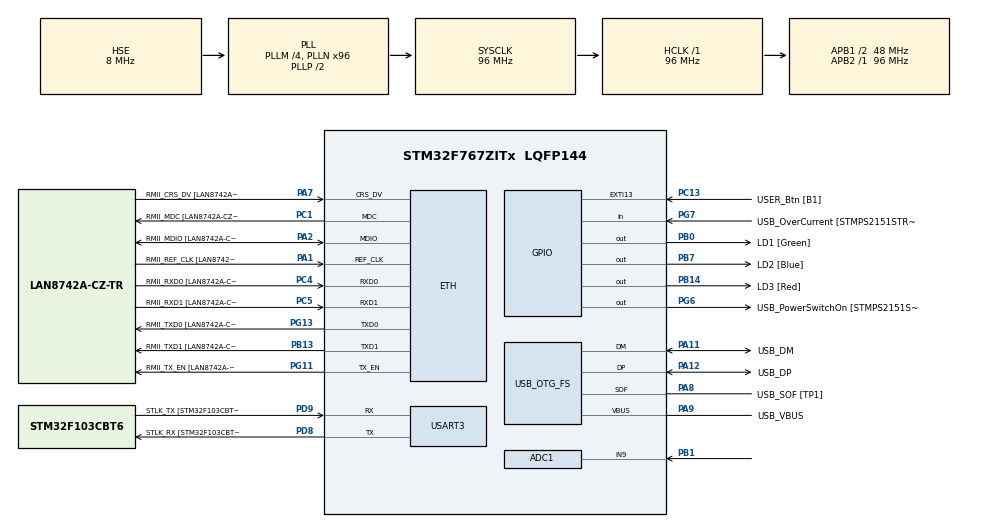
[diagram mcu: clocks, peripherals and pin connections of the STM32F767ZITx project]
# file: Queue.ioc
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ADC1.Channel-0\#ChannelRegularConversion=ADC_CHANNEL_9
ADC1.NbrOfConversionFlag=1
ADC1.Rank-0\#ChannelRegularConversion=1
ADC1.SamplingTime-0\#ChannelRegularConversion=ADC_SAMPLETIME_3CYCLES
ADC1.master=1
ETH.MediaInterface=HAL_ETH_RMII_MODE
ETH.PHY_Name=LAN8742A_PHY_ADDRESS
ETH.PHY_Value=0
ETH.PhyAddress=0
FREERTOS.BinarySemaphores01=semButton,Dynamic,NULL,Depleted;semADC,Dynamic,NULL,Depleted
FREERTOS.Queues01=myQueue01,32,uint16_t,0,Dynamic,NULL,NULL
FREERTOS.Tasks01=myTaskP,24,128,StartTaskP,Default,NULL,Dynamic,NULL,NULL;myTaskC,24,128,StartTaskC,Default,NULL,Dynamic,NULL,NULL
FREERTOS.configUSE_NEWLIB_REENTRANT=1
Mcu.Family=STM32F7
Mcu.Name=STM32F767ZITx
Mcu.Package=LQFP144
NVIC.EXTI15_10_IRQn=true\:5\:0\:false\:false\:true\:true\:true\:true\:true
NVIC.PriorityGroup=NVIC_PRIORITYGROUP_4
NVIC.TIM6_DAC_IRQn=true\:15\:0\:false\:false\:true\:false\:false\:true\:true
NVIC.TimeBase=TIM6_DAC_IRQn
NVIC.TimeBaseIP=TIM6
PA1.GPIO_Label=RMII_REF_CLK [LAN8742A-CZ-TR_REFCLK0]
PA1.Mode=RMII
PA1.Signal=ETH_REF_CLK
PA10.GPIO_Label=USB_ID
PA10.Signal=USB_OTG_FS_ID
PA11.GPIO_Label=USB_DM
PA11.Mode=Device_Only
PA11.Signal=USB_OTG_FS_DM
PA12.GPIO_Label=USB_DP
PA12.Mode=Device_Only
PA12.Signal=USB_OTG_FS_DP
PA13.GPIO_Label=TMS
PA13.Mode=Serial_Wire
PA13.Signal=SYS_JTMS-SWDIO
PA14.GPIO_Label=TCK
PA14.Mode=Serial_Wire
PA14.Signal=SYS_JTCK-SWCLK
PA2.GPIO_Label=RMII_MDIO [LAN8742A-CZ-TR_MDIO]
PA2.Mode=RMII
PA2.Signal=ETH_MDIO
PA7.GPIO_Label=RMII_CRS_DV [LAN8742A-CZ-TR_CRS_DV]
PA7.Mode=RMII
PA7.Signal=ETH_CRS_DV
PA8.GPIO_Label=USB_SOF [TP1]
PA8.Mode=Activate_SOF_FS
PA8.Signal=USB_OTG_FS_SOF
PA9.GPIO_Label=USB_VBUS
PA9.Mode=Activate_VBUS
PA9.Signal=USB_OTG_FS_VBUS
PB0.GPIO_Label=LD1 [Green]
PB0.Signal=GPIO_Output
PB1.Signal=ADCx_IN9
PB13.GPIO_Label=RMII_TXD1 [LAN8742A-CZ-TR_TXD1]
PB13.Mode=RMII
PB13.Signal=ETH_TXD1
PB14.GPIO_Label=LD3 [Red]
PB14.Signal=GPIO_Output
PB3.GPIO_Label=SWO
PB3.Signal=SYS_JTDO-SWO
PB7.GPIO_Label=LD2 [Blue]
PB7.Signal=GPIO_Output
PC1.GPIO_Label=RMII_MDC [LAN8742A-CZ-TR_MDC]
PC1.Mode=RMII
PC1.Signal=ETH_MDC
PC13.GPIO_Label=USER_Btn [B1]
PC13.Signal=GPXTI13
PC14/OSC32_IN.Mode=LSE-External-Oscillator
PC14/OSC32_IN.Signal=RCC_OSC32_IN
PC15/OSC32_OUT.Mode=LSE-External-Oscillator
PC15/OSC32_OUT.Signal=RCC_OSC32_OUT
PC4.GPIO_Label=RMII_RXD0 [LAN8742A-CZ-TR_RXD0]
PC4.Mode=RMII
PC4.Signal=ETH_RXD0
PC5.GPIO_Label=RMII_RXD1 [LAN8742A-CZ-TR_RXD1]
PC5.Mode=RMII
PC5.Signal=ETH_RXD1
PD8.GPIO_Label=STLK_RX [STM32F103CBT6_PA3]
PD8.Mode=Asynchronous
PD8.Signal=USART3_TX
PD9.GPIO_Label=STLK_TX [STM32F103CBT6_PA2]
PD9.Mode=Asynchronous
PD9.Signal=USART3_RX
PG11.GPIO_Label=RMII_TX_EN [LAN8742A-CZ-TR_TXEN]
PG11.Mode=RMII
PG11.Signal=ETH_TX_EN
PG13.GPIO_Label=RMII_TXD0 [LAN8742A-CZ-TR_TXD0]
PG13.Mode=RMII
PG13.Signal=ETH_TXD0
PG6.GPIO_Label=USB_PowerSwitchOn [STMPS2151STR_EN]
PG6.Signal=GPIO_Output
PG7.GPIO_Label=USB_OverCurrent [STMPS2151STR_FAULT]
PG7.Signal=GPIO_Input
PH0/OSC_IN.GPIO_Label=MCO [STM32F103CBT6_PA8]
PH0/OSC_IN.Mode=HSE-External-Clock-Source
PH0/OSC_IN.Signal=RCC_OSC_IN
PH1/OSC_OUT.Mode=HSE-External-Clock-Source
PH1/OSC_OUT.Signal=RCC_OSC_OUT
ProjectManager.HeapSize=0x200
ProjectManager.StackSize=0x400
ProjectManager.TargetToolchain=STM32CubeIDE
RCC.48MHZClocksFreq_Value=24000000
RCC.AHBFreq_Value=96000000
RCC.APB1CLKDivider=RCC_HCLK_DIV2
RCC.APB1Freq_Value=48000000
RCC.APB1TimFreq_Value=96000000
RCC.APB2Freq_Value=96000000
RCC.APB2TimFreq_Value=96000000
RCC.CortexFreq_Value=96000000
RCC.HCLKFreq_Value=96000000
RCC.HSE_VALUE=8000000
RCC.HSI_VALUE=16000000
RCC.PLLM=4
RCC.PLLMUL=RCC_PLL_MUL9
RCC.PLLN=96
RCC.PLLQ=4
RCC.PRESCALERUSB=RCC_USBCLKSOURCE_PLL_DIV1_5
RCC.SYSCLKFreq_VALUE=96000000
RCC.SYSCLKSource=RCC_SYSCLKSOURCE_PLLCLK
RCC.SYSCLKSourceVirtual=RCC_SYSCLKSOURCE_PLLCLK
RCC.USBFreq_Value=48000000
RCC.VCOOutputFreq_Value=192000000
SH.ADCx_IN9.0=ADC1_IN9,IN9
USART3.VirtualMode-Asynchronous=VM_ASYNC
USB_OTG_FS.VirtualMode=Device_Only
VP_FREERTOS_VS_CMSIS_V2.Mode=CMSIS_V2
VP_SYS_VS_tim6.Mode=TIM6
board=NUCLEO-F767ZI

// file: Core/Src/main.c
/* USER CODE BEGIN Header */
/**
  ******************************************************************************
  * @file           : main.c
  * @brief          : Main program body
  ******************************************************************************
  * @attention
  *
  * Copyright (c) 2025 STMicroelectronics.
  * All rights reserved.
  *
  * This software is licensed under terms that can be found in the LICENSE file
  * in the root directory of this software component.
  * If no LICENSE file comes with this software, it is provided AS-IS.
  *
  ******************************************************************************
  */
/* USER CODE END Header */
#include "main.h"
#include "string.h"
#include "cmsis_os.h"

#if defined ( __ICCARM__ ) /*!< IAR Compiler */
#pragma location=0x2007c000
ETH_DMADescTypeDef  DMARxDscrTab[ETH_RX_DESC_CNT]; /* Ethernet Rx DMA Descriptors */
#pragma location=0x2007c0a0
ETH_DMADescTypeDef  DMATxDscrTab[ETH_TX_DESC_CNT]; /* Ethernet Tx DMA Descriptors */

#elif defined ( __CC_ARM )  /* MDK ARM Compiler */

__attribute__((at(0x2007c000))) ETH_DMADescTypeDef  DMARxDscrTab[ETH_RX_DESC_CNT]; /* Ethernet Rx DMA Descriptors */
__attribute__((at(0x2007c0a0))) ETH_DMADescTypeDef  DMATxDscrTab[ETH_TX_DESC_CNT]; /* Ethernet Tx DMA Descriptors */

#elif defined ( __GNUC__ ) /* GNU Compiler */

ETH_DMADescTypeDef DMARxDscrTab[ETH_RX_DESC_CNT] __attribute__((section(".RxDecripSection"))); /* Ethernet Rx DMA Descriptors */
ETH_DMADescTypeDef DMATxDscrTab[ETH_TX_DESC_CNT] __attribute__((section(".TxDecripSection")));   /* Ethernet Tx DMA Descriptors */
#endif

ETH_TxPacketConfig TxConfig;

ADC_HandleTypeDef hadc1;

ETH_HandleTypeDef heth;

UART_HandleTypeDef huart3;

PCD_HandleTypeDef hpcd_USB_OTG_FS;

/* Definitions for myTaskP */
osThreadId_t myTaskPHandle;
const osThreadAttr_t myTaskP_attributes = {
  .name = "myTaskP",
  .stack_size = 128 * 4,
  .priority = (osPriority_t) osPriorityNormal,
};
/* Definitions for myTaskC */
osThreadId_t myTaskCHandle;
const osThreadAttr_t myTaskC_attributes = {
  .name = "myTaskC",
  .stack_size = 128 * 4,
  .priority = (osPriority_t) osPriorityNormal,
};
/* Definitions for myQueue01 */
osMessageQueueId_t myQueue01Handle;
const osMessageQueueAttr_t myQueue01_attributes = {
  .name = "myQueue01"
};
/* Definitions for semButton */
osSemaphoreId_t semButtonHandle;
const osSemaphoreAttr_t semButton_attributes = {
  .name = "semButton"
};
/* Definitions for semADC */
osSemaphoreId_t semADCHandle;
const osSemaphoreAttr_t semADC_attributes = {
  .name = "semADC"
};

void SystemClock_Config(void);
static void MX_GPIO_Init(void);
static void MX_ETH_Init(void);
static void MX_USART3_UART_Init(void);
static void MX_USB_OTG_FS_PCD_Init(void);
static void MX_ADC1_Init(void);
void StartTaskP(void *argument);
void StartTaskC(void *argument);

/* USER CODE BEGIN PFP */
uint32_t g_avg[32];
uint8_t count = 0;
/* USER CODE END PFP */

/* USER CODE BEGIN 0 */
void HAL_GPIO_EXTI_Callback(uint16_t GPIO_Pin){
	if(GPIO_Pin == GPIO_PIN_13){
		osSemaphoreRelease(semButtonHandle);
	}
}
/* USER CODE END 0 */

int main(void)
{

  /* MCU Configuration--------------------------------------------------------*/

  /* Reset of all peripherals, Initializes the Flash interface and the Systick. */
  HAL_Init();

  /* Configure the system clock */
  SystemClock_Config();

  /* Initialize all configured peripherals */
  MX_GPIO_Init();
  MX_ETH_Init();
  MX_USART3_UART_Init();
  MX_USB_OTG_FS_PCD_Init();
  MX_ADC1_Init();

  /* Init scheduler */
  osKernelInitialize();

  /* Create the semaphores(s) */
  /* creation of semButton */
  semButtonHandle = osSemaphoreNew(1, 0, &semButton_attributes);

  /* creation of semADC */
  semADCHandle = osSemaphoreNew(1, 0, &semADC_attributes);

  /* Create the queue(s) */
  /* creation of myQueue01 */
  myQueue01Handle = osMessageQueueNew (32, sizeof(uint16_t), &myQueue01_attributes);

  /* Create the thread(s) */
  /* creation of myTaskP */
  myTaskPHandle = osThreadNew(StartTaskP, NULL, &myTaskP_attributes);

  /* creation of myTaskC */
  myTaskCHandle = osThreadNew(StartTaskC, NULL, &myTaskC_attributes);

  /* Start scheduler */
  osKernelStart();

  /* We should never get here as control is now taken by the scheduler */

  /* Infinite loop */
  while (1)
  {

  }
}

void SystemClock_Config(void)
{
  RCC_OscInitTypeDef RCC_OscInitStruct = {0};
  RCC_ClkInitTypeDef RCC_ClkInitStruct = {0};

  /** Configure LSE Drive Capability
  */
  HAL_PWR_EnableBkUpAccess();

  /** Configure the main internal regulator output voltage
  */
  __HAL_RCC_PWR_CLK_ENABLE();
  __HAL_PWR_VOLTAGESCALING_CONFIG(PWR_REGULATOR_VOLTAGE_SCALE3);

  /** Initializes the RCC Oscillators according to the specified parameters
  * in the RCC_OscInitTypeDef structure.
  */
  RCC_OscInitStruct.OscillatorType = RCC_OSCILLATORTYPE_HSE;
  RCC_OscInitStruct.HSEState = RCC_HSE_BYPASS;
  RCC_OscInitStruct.PLL.PLLState = RCC_PLL_ON;
  RCC_OscInitStruct.PLL.PLLSource = RCC_PLLSOURCE_HSE;
  RCC_OscInitStruct.PLL.PLLM = 4;
  RCC_OscInitStruct.PLL.PLLN = 96;
  RCC_OscInitStruct.PLL.PLLP = RCC_PLLP_DIV2;
  RCC_OscInitStruct.PLL.PLLQ = 4;
  RCC_OscInitStruct.PLL.PLLR = 2;
  if (HAL_RCC_OscConfig(&RCC_OscInitStruct) != HAL_OK)
  {
    Error_Handler();
  }

  /** Activate the Over-Drive mode
  */
  if (HAL_PWREx_EnableOverDrive() != HAL_OK)
  {
    Error_Handler();
  }

  /** Initializes the CPU, AHB and APB buses clocks
  */
  RCC_ClkInitStruct.ClockType = RCC_CLOCKTYPE_HCLK|RCC_CLOCKTYPE_SYSCLK
                              |RCC_CLOCKTYPE_PCLK1|RCC_CLOCKTYPE_PCLK2;
  RCC_ClkInitStruct.SYSCLKSource = RCC_SYSCLKSOURCE_PLLCLK;
  RCC_ClkInitStruct.AHBCLKDivider = RCC_SYSCLK_DIV1;
  RCC_ClkInitStruct.APB1CLKDivider = RCC_HCLK_DIV2;
  RCC_ClkInitStruct.APB2CLKDivider = RCC_HCLK_DIV1;

  if (HAL_RCC_ClockConfig(&RCC_ClkInitStruct, FLASH_LATENCY_3) != HAL_OK)
  {
    Error_Handler();
  }
}

static void MX_ADC1_Init(void)
{

  ADC_ChannelConfTypeDef sConfig = {0};

  /** Configure the global features of the ADC (Clock, Resolution, Data Alignment and number of conversion)
  */
  hadc1.Instance = ADC1;
  hadc1.Init.ClockPrescaler = ADC_CLOCK_SYNC_PCLK_DIV4;
  hadc1.Init.Resolution = ADC_RESOLUTION_12B;
  hadc1.Init.ScanConvMode = ADC_SCAN_DISABLE;
  hadc1.Init.ContinuousConvMode = DISABLE;
  hadc1.Init.DiscontinuousConvMode = DISABLE;
  hadc1.Init.ExternalTrigConvEdge = ADC_EXTERNALTRIGCONVEDGE_NONE;
  hadc1.Init.ExternalTrigConv = ADC_SOFTWARE_START;
  hadc1.Init.DataAlign = ADC_DATAALIGN_RIGHT;
  hadc1.Init.NbrOfConversion = 1;
  hadc1.Init.DMAContinuousRequests = DISABLE;
  hadc1.Init.EOCSelection = ADC_EOC_SINGLE_CONV;
  if (HAL_ADC_Init(&hadc1) != HAL_OK)
  {
    Error_Handler();
  }

  /** Configure for the selected ADC regular channel its corresponding rank in the sequencer and its sample time.
  */
  sConfig.Channel = ADC_CHANNEL_9;
  sConfig.Rank = ADC_REGULAR_RANK_1;
  sConfig.SamplingTime = ADC_SAMPLETIME_3CYCLES;
  if (HAL_ADC_ConfigChannel(&hadc1, &sConfig) != HAL_OK)
  {
    Error_Handler();
  }

}

static void MX_ETH_Init(void)
{

   static uint8_t MACAddr[6];

  heth.Instance = ETH;
  MACAddr[0] = 0x00;
  MACAddr[1] = 0x80;
  MACAddr[2] = 0xE1;
  MACAddr[3] = 0x00;
  MACAddr[4] = 0x00;
  MACAddr[5] = 0x00;
  heth.Init.MACAddr = &MACAddr[0];
  heth.Init.MediaInterface = HAL_ETH_RMII_MODE;
  heth.Init.TxDesc = DMATxDscrTab;
  heth.Init.RxDesc = DMARxDscrTab;
  heth.Init.RxBuffLen = 1524;

  if (HAL_ETH_Init(&heth) != HAL_OK)
  {
    Error_Handler();
  }

  memset(&TxConfig, 0 , sizeof(ETH_TxPacketConfig));
  TxConfig.Attributes = ETH_TX_PACKETS_FEATURES_CSUM | ETH_TX_PACKETS_FEATURES_CRCPAD;
  TxConfig.ChecksumCtrl = ETH_CHECKSUM_IPHDR_PAYLOAD_INSERT_PHDR_CALC;
  TxConfig.CRCPadCtrl = ETH_CRC_PAD_INSERT;

}

static void MX_USART3_UART_Init(void)
{

  huart3.Instance = USART3;
  huart3.Init.BaudRate = 115200;
  huart3.Init.WordLength = UART_WORDLENGTH_8B;
  huart3.Init.StopBits = UART_STOPBITS_1;
  huart3.Init.Parity = UART_PARITY_NONE;
  huart3.Init.Mode = UART_MODE_TX_RX;
  huart3.Init.HwFlowCtl = UART_HWCONTROL_NONE;
  huart3.Init.OverSampling = UART_OVERSAMPLING_16;
  huart3.Init.OneBitSampling = UART_ONE_BIT_SAMPLE_DISABLE;
  huart3.AdvancedInit.AdvFeatureInit = UART_ADVFEATURE_NO_INIT;
  if (HAL_UART_Init(&huart3) != HAL_OK)
  {
    Error_Handler();
  }

}

static void MX_USB_OTG_FS_PCD_Init(void)
{

  hpcd_USB_OTG_FS.Instance = USB_OTG_FS;
  hpcd_USB_OTG_FS.Init.dev_endpoints = 6;
  hpcd_USB_OTG_FS.Init.speed = PCD_SPEED_FULL;
  hpcd_USB_OTG_FS.Init.dma_enable = DISABLE;
  hpcd_USB_OTG_FS.Init.phy_itface = PCD_PHY_EMBEDDED;
  hpcd_USB_OTG_FS.Init.Sof_enable = ENABLE;
  hpcd_USB_OTG_FS.Init.low_power_enable = DISABLE;
  hpcd_USB_OTG_FS.Init.lpm_enable = DISABLE;
  hpcd_USB_OTG_FS.Init.vbus_sensing_enable = ENABLE;
  hpcd_USB_OTG_FS.Init.use_dedicated_ep1 = DISABLE;
  if (HAL_PCD_Init(&hpcd_USB_OTG_FS) != HAL_OK)
  {
    Error_Handler();
  }

}

static void MX_GPIO_Init(void)
{
  GPIO_InitTypeDef GPIO_InitStruct = {0};

  /* GPIO Ports Clock Enable */
  __HAL_RCC_GPIOC_CLK_ENABLE();
  __HAL_RCC_GPIOH_CLK_ENABLE();
  __HAL_RCC_GPIOA_CLK_ENABLE();
  __HAL_RCC_GPIOB_CLK_ENABLE();
  __HAL_RCC_GPIOD_CLK_ENABLE();
  __HAL_RCC_GPIOG_CLK_ENABLE();

  /*Configure GPIO pin Output Level */
  HAL_GPIO_WritePin(GPIOB, LD1_Pin|LD3_Pin|LD2_Pin, GPIO_PIN_RESET);

  /*Configure GPIO pin Output Level */
  HAL_GPIO_WritePin(USB_PowerSwitchOn_GPIO_Port, USB_PowerSwitchOn_Pin, GPIO_PIN_RESET);

  /*Configure GPIO pin : USER_Btn_Pin */
  GPIO_InitStruct.Pin = USER_Btn_Pin;
  GPIO_InitStruct.Mode = GPIO_MODE_IT_RISING;
  GPIO_InitStruct.Pull = GPIO_NOPULL;
  HAL_GPIO_Init(USER_Btn_GPIO_Port, &GPIO_InitStruct);

  /*Configure GPIO pins : LD1_Pin LD3_Pin LD2_Pin */
  GPIO_InitStruct.Pin = LD1_Pin|LD3_Pin|LD2_Pin;
  GPIO_InitStruct.Mode = GPIO_MODE_OUTPUT_PP;
  GPIO_InitStruct.Pull = GPIO_NOPULL;
  GPIO_InitStruct.Speed = GPIO_SPEED_FREQ_LOW;
  HAL_GPIO_Init(GPIOB, &GPIO_InitStruct);

  /*Configure GPIO pin : USB_PowerSwitchOn_Pin */
  GPIO_InitStruct.Pin = USB_PowerSwitchOn_Pin;
  GPIO_InitStruct.Mode = GPIO_MODE_OUTPUT_PP;
  GPIO_InitStruct.Pull = GPIO_NOPULL;
  GPIO_InitStruct.Speed = GPIO_SPEED_FREQ_LOW;
  HAL_GPIO_Init(USB_PowerSwitchOn_GPIO_Port, &GPIO_InitStruct);

  /*Configure GPIO pin : USB_OverCurrent_Pin */
  GPIO_InitStruct.Pin = USB_OverCurrent_Pin;
  GPIO_InitStruct.Mode = GPIO_MODE_INPUT;
  GPIO_InitStruct.Pull = GPIO_NOPULL;
  HAL_GPIO_Init(USB_OverCurrent_GPIO_Port, &GPIO_InitStruct);

  /* EXTI interrupt init*/
  HAL_NVIC_SetPriority(EXTI15_10_IRQn, 5, 0);
  HAL_NVIC_EnableIRQ(EXTI15_10_IRQn);

}

void StartTaskP(void *argument)
{
  /* USER CODE BEGIN 5 */
	char buf[64];
	//uint16_t signal = 0;

  /* Infinite loop */
  for(;;)
  {
    osSemaphoreAcquire(semButtonHandle, osWaitForever);
    if(count == 0){
    	snprintf(buf, sizeof(buf), "Iniciando Processo \r \n");
		HAL_UART_Transmit(&huart3, (uint8_t*)buf, strlen(buf), HAL_MAX_DELAY);
    }
    for(int i = 0; i<32; i++){
    	/*HAL_ADC_Start(&hadc1);
		HAL_ADC_PollForConversion(&hadc1, HAL_MAX_DELAY);
		signal = HAL_ADC_GetValue(&hadc1);*/
		osMessageQueuePut(myQueue01Handle, &i, NULL, HAL_MAX_DELAY);
    }
    osSemaphoreRelease(semADCHandle);

  }
  /* USER CODE END 5 */
}

void StartTaskC(void *argument)
{
  /* USER CODE BEGIN StartTaskC */
	uint16_t value;
	uint32_t sum = 0;
	uint32_t total_avg = 0;
	char buf[64];
  /* Infinite loop */
  for(;;)
  {
	osSemaphoreAcquire(semADCHandle, osWaitForever);
    for(int i = 0; i<32; i++){
    	osMessageQueueGet(myQueue01Handle, &value, NULL, osWaitForever);
    	sum += value;
    }
    g_avg[count] = sum/32;
    count++;
    sum = 0;

    if(count == 32){
    	for(int i = 0; i<32; i++){
    		total_avg += g_avg[i];
    	}
    	total_avg = total_avg/32;
    	snprintf(buf, sizeof(buf), "Finished. Average: %lu \r \n", total_avg);
    	HAL_UART_Transmit(&huart3, (uint8_t*)buf, strlen(buf), HAL_MAX_DELAY);
    	count = 0;
    }
    else{
    	osSemaphoreRelease(semButtonHandle);
    }

  }
  /* USER CODE END StartTaskC */
}

void HAL_TIM_PeriodElapsedCallback(TIM_HandleTypeDef *htim)
{
  if (htim->Instance == TIM6) {
    HAL_IncTick();
  }
}

void Error_Handler(void)
{
  __disable_irq();
  while (1)
  {
  }
}
